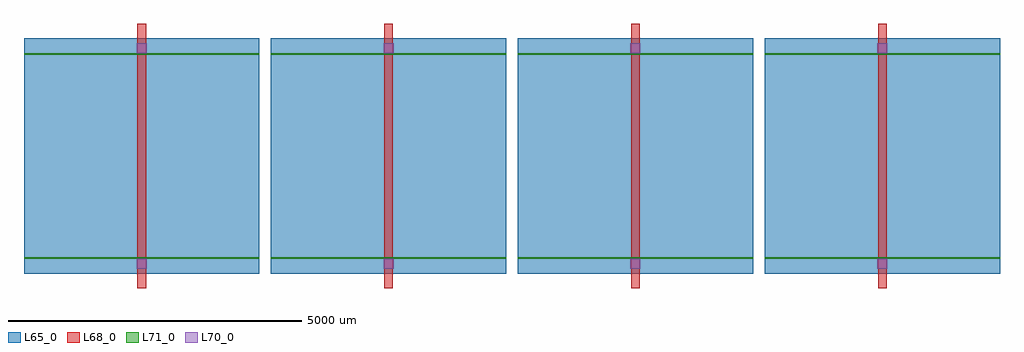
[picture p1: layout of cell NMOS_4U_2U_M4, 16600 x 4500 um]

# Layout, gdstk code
import gdstk
lib = gdstk.Library(unit=1e-6, precision=1e-09)
def R(c, l, rs):  # rectangles x0, y0, x1, y1
    for r in rs: c.add(gdstk.rectangle(r[:2], r[2:], *l))
def A(c, l, x, y, w, h, nx, ny, dx, dy):  # array of equal rectangles
    R(c, l, [(x+i*dx, y+j*dy, x+i*dx+w, y+j*dy+h) for i in range(nx) for j in range(ny)])
L65_0 = (65, 0)
L68_0 = (68, 0)
L70_0 = (70, 0)
L71_0 = (71, 0)

nmos_4u_2u_m4 = lib.new_cell('NMOS_4U_2U_M4')
A(nmos_4u_2u_m4, L65_0, 0, -2000, 4000, 4000, 4, 1, 4200, 0)
A(nmos_4u_2u_m4, L68_0, 1925, -2250, 150, 4500, 4, 1, 4200, 0)
A(nmos_4u_2u_m4, L70_0, 1915, -1920, 170, 170, 4, 2, 4200, 3670)
A(nmos_4u_2u_m4, L71_0, 0, -1750, 4000, 30, 4, 2, 4200, 3470)

lib.write_gds('NMOS_4U_2U_M4.gds')
